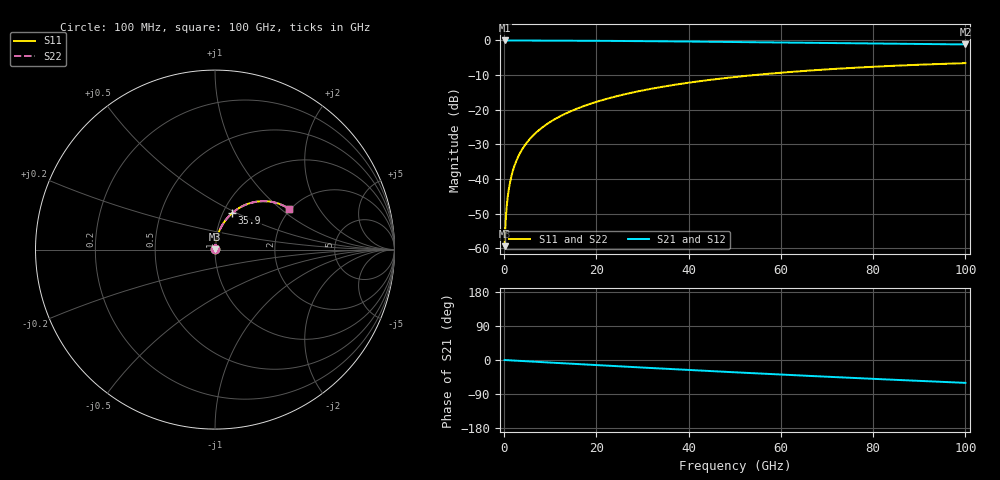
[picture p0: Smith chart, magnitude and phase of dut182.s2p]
! Touchstone file exported from HFSS 2026.1.0
!  File:  C:/ffzhzh/LocalFiles/Ansys_Project_Files/temp_train_RDL_182_1783500389_55944.aedt
!  Generated:  04:47:31 PM Jul  8, 2026
!  Design:  RDL
!  Project:  temp_train_RDL_182_1783500389_55944
! Variables:
!  h_bsmrdl = 2um
!  h_ox = 20um
!  h_rdl = 5um
!  h_sub = 80um
!  h_tmrdl = 4.7um
!  h_tsv = 80um
!  h_via = 3um
!  l_bsmrdl = 300um
!  l_sub = 567.95um
!  l_tmrdl = 167.95um
!  m_sub = 200um
!  pitch = 45.05um
!  r_tsv = 6um
!  s_tmrdl = 10um
!  w_bsmrdl = 18um
!  w_sub = 500um
!  w_tmrdl = 20.95um
!  x_tsv_center1 = 178.425um
!  x_tsv_center2 = 496.425um
!  x_tsv_center3 = 685.325um
!  x_tsv_center4 = 1003.325um
!  x_tsv_center5 = 1192.225um
!  x_tsv_center6 = 1510.225um
# GHz S MA R 50.000000
! Terminal data exported
! Port[1] = TM_RDL1_1_T1
! Port[2] = TM_RDL1_1_T2
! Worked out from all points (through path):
!   1000 points, 100 MHz to 100 GHz, reference 50 ohm
!   highest |S21| = -0.01 dB at 100 MHz (marker M1); lowest = -1.2 dB at 100 GHz (marker M2)
!   group delay of S21, straight-line fit = 1.68 ps
!   lowest |S11| = -59.4 dB at 100 MHz (marker M3), VSWR 1.00, Z = 50.1 + j0.0756 ohm
!   |S11| at or under -10 dB: start of sweep to 54.18 GHz
!   |S22| runs from -59.4 to -6.6 dB; largest |S21 - S12| = 9.3e-15
!   S11 on the Smith chart (normalised r, x): 100 MHz: 1.00, +0.00; 35.9 GHz: 1.10, +0.47; 100 GHz: 1.96, +1.14
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0.1  0.001074 44.6  0.9992 -0.1  0.9992 -0.1  0.001074 44.6
! Gamma 0 0 0 0
! Port Impedance 50 0 50 0
0.4  0.002996 72.7  0.9991 -0.3  0.9991 -0.3  0.002996 72.7
0.7  0.00501 78.8  0.9991 -0.5  0.9991 -0.5  0.00501 78.8
0.8  0.005689 79.9  0.999 -0.6  0.999 -0.6  0.005689 79.9
1.1  0.007737 81.9  0.999 -0.8  0.999 -0.8  0.007737 81.9
1.4  0.009792 83.0  0.9989 -1.0  0.9989 -1.0  0.009792 83.0
1.9  0.01322 83.9  0.9988 -1.3  0.9988 -1.3  0.01322 83.9
2.4  0.01663 84.2  0.9987 -1.7  0.9987 -1.7  0.01663 84.2
3.1  0.02138 84.2  0.9984 -2.1  0.9984 -2.1  0.02138 84.2
3.9  0.02676 84.0  0.9981 -2.7  0.9981 -2.7  0.02676 84.0
4.9  0.03342 83.6  0.9976 -3.4  0.9976 -3.4  0.03342 83.6
6  0.04068 83.0  0.9971 -4.1  0.9971 -4.1  0.04068 83.0
8.8  0.05894 81.5  0.9957 -6.0  0.9957 -6.0  0.05894 81.5
12.4  0.0821 79.4  0.9935 -8.4  0.9935 -8.4  0.0821 79.4
16.8  0.1099 76.8  0.9903 -11.3  0.9903 -11.3  0.1099 76.8
24.2  0.1555 72.2  0.9835 -16.2  0.9835 -16.2  0.1555 72.2
33.4  0.2093 66.5  0.9728 -22.1  0.9728 -22.1  0.2093 66.5
35.9  0.2233 65.0  0.9696 -23.7  0.9696 -23.7  0.2233 65.0
50.1  0.297 56.4  0.949 -32.5  0.949 -32.5  0.297 56.4
66.7  0.3696 46.8  0.9228 -42.3  0.9228 -42.3  0.3696 46.8
83.4  0.4275 37.6  0.8973 -51.6  0.8973 -51.6  0.4275 37.6
100  0.4703 29.0  0.8756 -60.4  0.8756 -60.4  0.4703 28.9
